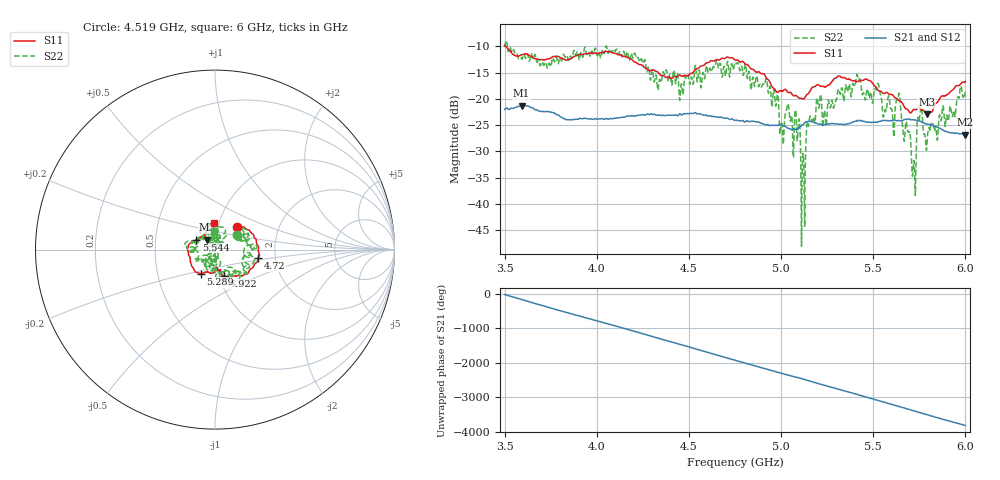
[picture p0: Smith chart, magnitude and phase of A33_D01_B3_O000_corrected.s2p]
! Created with skrf 1.9.0 (http://scikit-rf.org).
# Hz S RI R 50.0
!freq ReS11 ImS11 ReS21 ImS21 ReS12 ImS12 ReS22 ImS22
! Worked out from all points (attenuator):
!   1601 points, 3.5 GHz to 6 GHz, reference 50 ohm
!   highest |S21| = -21.27 dB at 3.592 GHz (marker M1); lowest = -26.8 dB at 5.998 GHz (marker M2)
!   lowest |S11| = -22.9 dB at 5.791 GHz (marker M3), VSWR 1.15, Z = 45.5 + j5.13 ohm
!   |S11| at or under -10 dB: 3.505 GHz to end of sweep
!   |S22| runs from -48.0 to -8.9 dB; largest |S21 - S12| = 0.0012
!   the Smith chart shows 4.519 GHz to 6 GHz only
!   S11 on the Smith chart (normalised r, x): 4.519 GHz: 1.23, +0.32; 4.72 GHz: 1.62, -0.16; 4.922 GHz: 1.06, -0.32; 5.289 GHz: 0.83, -0.23; 5.544 GHz: 0.81, +0.09; 6 GHz: 0.94, +0.28
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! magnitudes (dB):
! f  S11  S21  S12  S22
! 3.5 GHz  -9.8  -22.0  -22.0  -10.2
! 3.592 GHz  -11.6  -21.3  -21.3  -12.4
! 3.917 GHz  -11.6  -23.8  -23.8  -11.2
! 4.334 GHz  -15.0  -23.1  -23.0  -17.8
! 4.519 GHz  -15.1  -22.8  -22.8  -16.6
! 4.72 GHz  -12.2  -23.9  -23.9  -15.9
! 4.75 GHz  -12.6  -24.1  -24.0  -13.1
! 4.922 GHz  -16.1  -25.0  -25.0  -16.2
! 5.003 GHz  -18.6  -25.1  -25.1  -24.6
! 5.089 GHz  -19.6  -25.6  -25.7  -27.7
! 5.119 GHz  -20.0  -24.9  -24.8  -30.4
! 5.167 GHz  -17.9  -24.3  -24.3  -24.3
! 5.289 GHz  -16.2  -24.7  -24.7  -21.2
! 5.419 GHz  -16.7  -24.1  -24.1  -16.0
! 5.544 GHz  -18.6  -24.2  -24.2  -19.8
! 5.584 GHz  -19.1  -24.2  -24.2  -19.4
! 5.638 GHz  -20.2  -24.1  -24.1  -19.1
! 5.719 GHz  -22.0  -24.0  -24.0  -32.3
! 5.752 GHz  -21.8  -24.2  -24.2  -23.5
! 5.791 GHz  -22.9  -24.8  -24.8  -29.1
! 5.998 GHz  -16.8  -26.8  -26.8  -19.2
! 6 GHz  -16.7  -26.8  -26.8  -19.6
